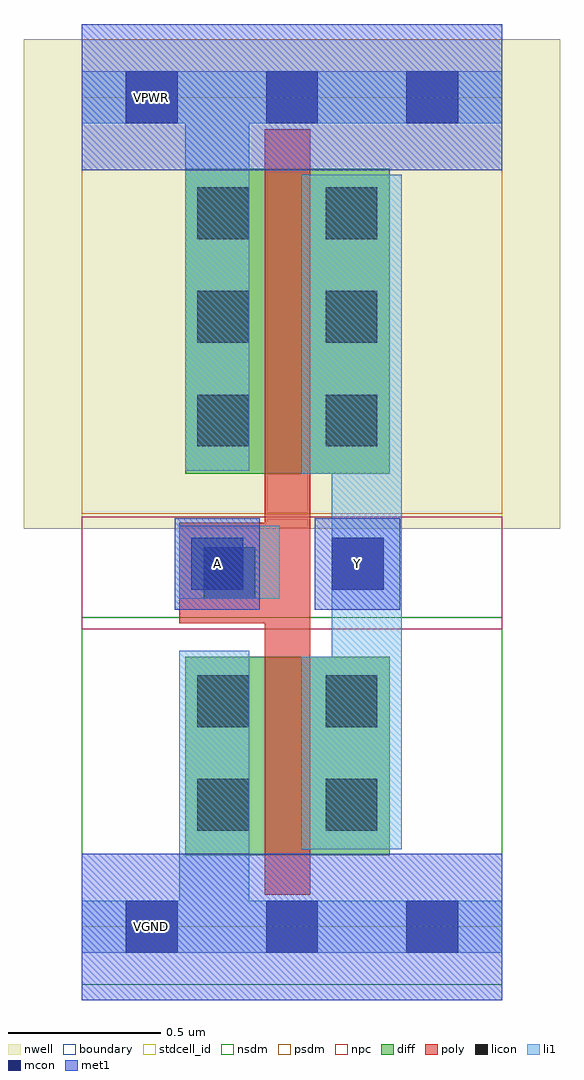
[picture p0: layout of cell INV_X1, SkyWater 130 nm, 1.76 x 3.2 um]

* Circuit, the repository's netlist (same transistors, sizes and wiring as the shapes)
.subckt INV_X1 A Y VPWR VGND VNB
M0 Y A VPWR nwell_i sky130_fd_pr__pfet_01v8 L=0.15u W=1.0u
M1 Y A VGND VNB sky130_fd_pr__nfet_01v8 L=0.15u W=0.65u
.ends

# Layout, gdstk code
import gdstk
lib = gdstk.Library(unit=1e-6, precision=1e-09)
def R(c, l, rs):  # rectangles x0, y0, x1, y1
    for r in rs: c.add(gdstk.rectangle(r[:2], r[2:], *l))
def A(c, l, x, y, w, h, nx, ny, dx, dy):  # array of equal rectangles
    R(c, l, [(x+i*dx, y+j*dy, x+i*dx+w, y+j*dy+h) for i in range(nx) for j in range(ny)])
nwell = (64, 20)
diff = (65, 20)
poly = (66, 20)
licon = (66, 44)
li1 = (67, 20)
mcon = (67, 44)
met1 = (68, 20)
stdcell_id = (81, 4)
nsdm = (93, 44)
psdm = (94, 20)
npc = (95, 20)
boundary = (235, 4)

inv_x1 = lib.new_cell('INV_X1')
R(inv_x1, nwell, [(-0.19,1.305,1.57,2.91)])
R(inv_x1, diff, [(0.34,0.235,1.01,0.885), (0.34,1.485,1.01,2.485)])
R(inv_x1, poly, [(0.6,0.105,0.75,2.615), (0.32,0.995,0.6,1.325)])
A(inv_x1, licon, 0.38, 1.575, 0.17, 0.17, 1, 3, 0, 0.34)
A(inv_x1, licon, 0.8, 1.575, 0.17, 0.17, 1, 3, 0, 0.34)
R(inv_x1, licon, [(0.38,0.315,0.55,0.485), (0.8,0.315,0.97,0.485), (0.38,0.655,0.55,0.825), (0.8,0.655,0.97,0.825), (0.4,1.075,0.57,1.245)])
R(inv_x1, li1, [(0,-0.085,1.38,0.085), (0.32,0.005,0.55,0.905), (0.72,0.255,1.05,0.885), (0.82,0.885,1.05,1.485), (0.32,1.075,0.65,1.315), (0.72,1.485,1.05,2.465), (0.34,1.495,0.55,2.675), (0,2.635,1.38,2.805)])
A(inv_x1, mcon, 0.145, -0.085, 0.17, 0.17, 3, 2, 0.46, 2.72)
R(inv_x1, mcon, [(0.36,1.105,0.53,1.275), (0.82,1.105,0.99,1.275)])
R(inv_x1, met1, [(0,-0.24,1.38,0.24), (0.305,1.04,0.585,1.34), (0.765,1.04,1.045,1.34), (0,2.48,1.38,2.96)])
R(inv_x1, stdcell_id, [(0,0,1.38,2.72)])
R(inv_x1, nsdm, [(0,-0.19,1.38,1.015)])
R(inv_x1, psdm, [(0,1.355,1.38,2.91)])
R(inv_x1, npc, [(0,0.975,1.38,1.345)])
R(inv_x1, boundary, [(0,0,1.38,2.72)])
inv_x1.add(gdstk.Label('VPWR', (0.23,2.72), layer=68, texttype=5))
inv_x1.add(gdstk.Label('VGND', (0.23,0), layer=68, texttype=5))
inv_x1.add(gdstk.Label('A', (0.445,1.19), layer=68, texttype=5))
inv_x1.add(gdstk.Label('Y', (0.905,1.19), layer=68, texttype=5))

lib.write_gds('INV_X1.gds')
